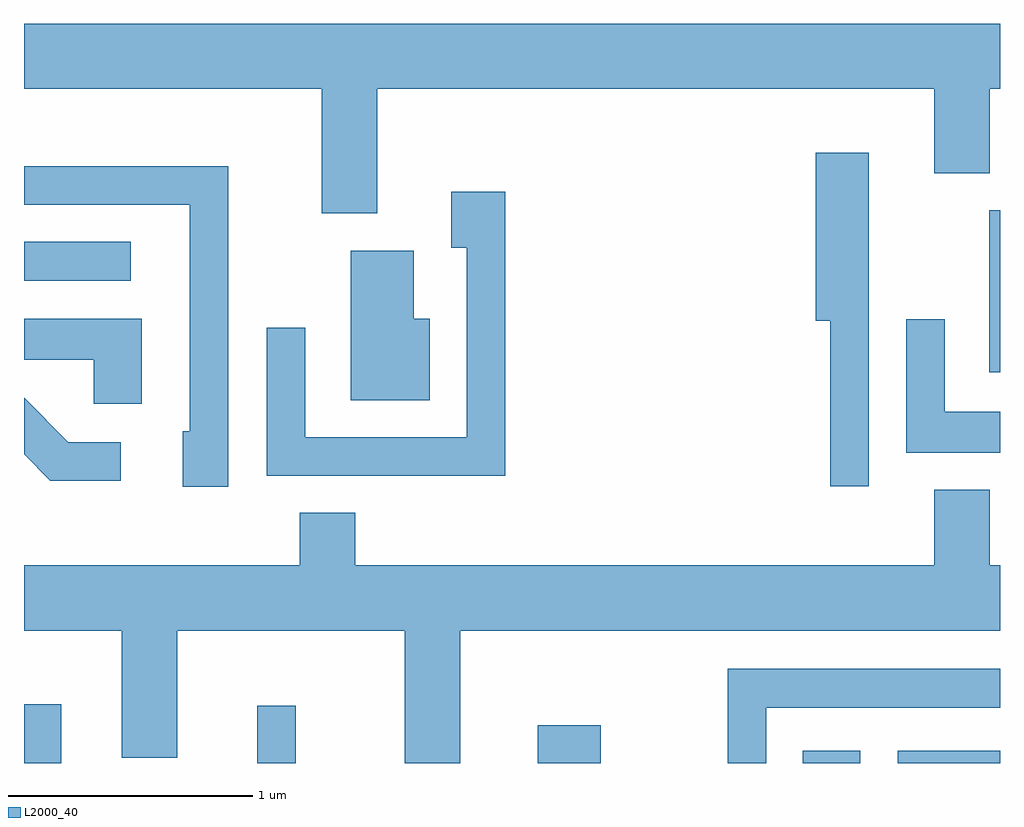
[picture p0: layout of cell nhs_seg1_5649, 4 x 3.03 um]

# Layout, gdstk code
import gdstk
lib = gdstk.Library(unit=1e-6, precision=1e-09)
def R(c, l, rs):  # rectangles x0, y0, x1, y1
    for r in rs: c.add(gdstk.rectangle(r[:2], r[2:], *l))
def P(c, l, *ps):  # polygons
    for p in ps: c.add(gdstk.Polygon(p, *l))
L2000_40 = (2000, 40)

nhs_seg1_5649 = lib.new_cell('nhs_seg1_5649')
R(nhs_seg1_5649, L2000_40, [(355.611,885.712,355.764,885.954), (356.566,885.712,356.724,885.948), (357.716,885.712,357.974,885.869), (358.803,885.712,359.039,885.764), (359.191,885.712,359.611,885.764), (359.566,887.316,359.611,887.979), (355.611,887.691,356.048,887.849)])
P(nhs_seg1_5649, L2000_40, [(357.059,888.476),(359.341,888.476),(359.341,888.131),(359.569,888.131),(359.569,888.476),(359.611,888.476),(359.611,888.744),(355.611,888.744),(355.611,888.476),(356.831,888.476),(356.831,887.966),(357.059,887.966)],
  [(359.074,888.214),(358.856,888.214),(358.856,887.526),(358.916,887.526),(358.916,886.848),(359.074,886.848)],
  [(356.449,888.159),(355.611,888.159),(355.611,888.001),(356.291,888.001),(356.291,887.074),(356.261,887.074),(356.261,886.846),(356.449,886.846)],
  [(357.584,888.054),(357.361,888.054),(357.361,887.826),(357.426,887.826),(357.426,887.049),(356.764,887.049),(356.764,887.498),(356.606,887.498),(356.606,886.891),(357.584,886.891)],
  [(357.274,887.534),(357.209,887.534),(357.209,887.814),(356.951,887.814),(356.951,887.201),(357.274,887.201)],
  [(356.094,887.534),(355.611,887.534),(355.611,887.366),(355.896,887.366),(355.896,887.186),(356.094,887.186)],
  [(359.611,887.154),(359.384,887.154),(359.384,887.533),(359.226,887.533),(359.226,886.986),(359.611,886.986)],
  [(356.008,887.029),(355.792,887.029),(355.611,887.21),(355.611,886.979),(355.719,886.871),(356.008,886.871)],
  [(357.399,886.256),(359.611,886.256),(359.611,886.524),(359.569,886.524),(359.569,886.834),(359.341,886.834),(359.341,886.524),(356.969,886.524),(356.969,886.739),(356.741,886.739),(356.741,886.524),(355.611,886.524),(355.611,886.256),(356.011,886.256),(356.011,885.736),(356.239,885.736),(356.239,886.256),(357.171,886.256),(357.171,885.712),(357.399,885.712)],
  [(358.654,885.941),(359.611,885.941),(359.611,886.099),(358.496,886.099),(358.496,885.712),(358.654,885.712)])

lib.write_gds('nhs_seg1_5649.gds')
